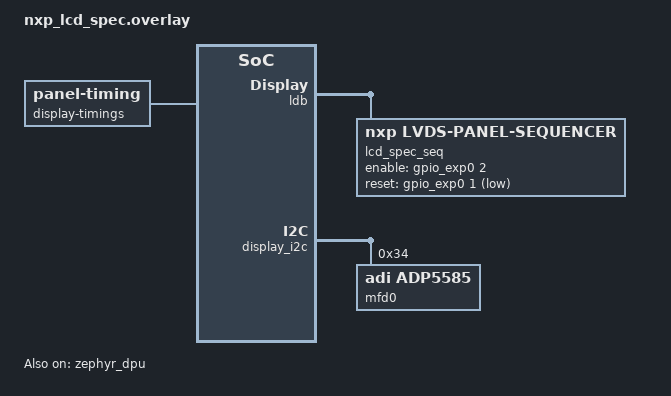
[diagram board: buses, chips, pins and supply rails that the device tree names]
/*
 * Copyright 2026 NXP
 *
 * SPDX-License-Identifier: Apache-2.0
 */

#include <zephyr/dt-bindings/display/panel.h>

/ {
	chosen {
		zephyr,display = &dpu;
	};

	aliases {
		ldb = &ldb;
	};
};

&zephyr_dpu {
	width = <1280>;
	height = <800>;
	pixel-format = <PANEL_PIXEL_FORMAT_ARGB_8888>;
	status = "okay";

	display-timings {
		compatible = "zephyr,panel-timing";
		hsync-len = <32>;
		hfront-porch = <48>;
		hback-porch = <80>;
		vsync-len = <6>;
		vfront-porch = <2>;
		vback-porch = <15>;
		de-active = <0>;
		pixelclk-active = <0>;
		hsync-active = <1>;
		vsync-active = <1>;
		clock-frequency = <72400000>;
	};
};

&ldb {
    status = "okay";
    display-index = <0>;
    bit-mapping = "jeida";

    lcd_spec_seq: lvds-panel-sequencer {
        compatible = "nxp,lvds-panel-sequencer";
        status = "okay";

        enable-gpios = <&gpio_exp0 2 GPIO_ACTIVE_HIGH>;
        reset-gpios  = <&gpio_exp0 1  GPIO_ACTIVE_LOW>;

        ldb = <&ldb>; /* 仍然建议显式写 */
    };
};

&display_i2c {
	status = "okay";

	mfd0: adp5585@34 {
		compatible = "adi,adp5585";
		reg = <0x34>;
		status = "okay";

		gpio_exp0: adp5585_gpio {
			compatible = "adi,adp5585-gpio";
			gpio-controller;
			#gpio-cells = <2>;
			ngpios = <13>;
			gpio-reserved-ranges = <5 3>;
			status = "okay";
		};
	};
};
